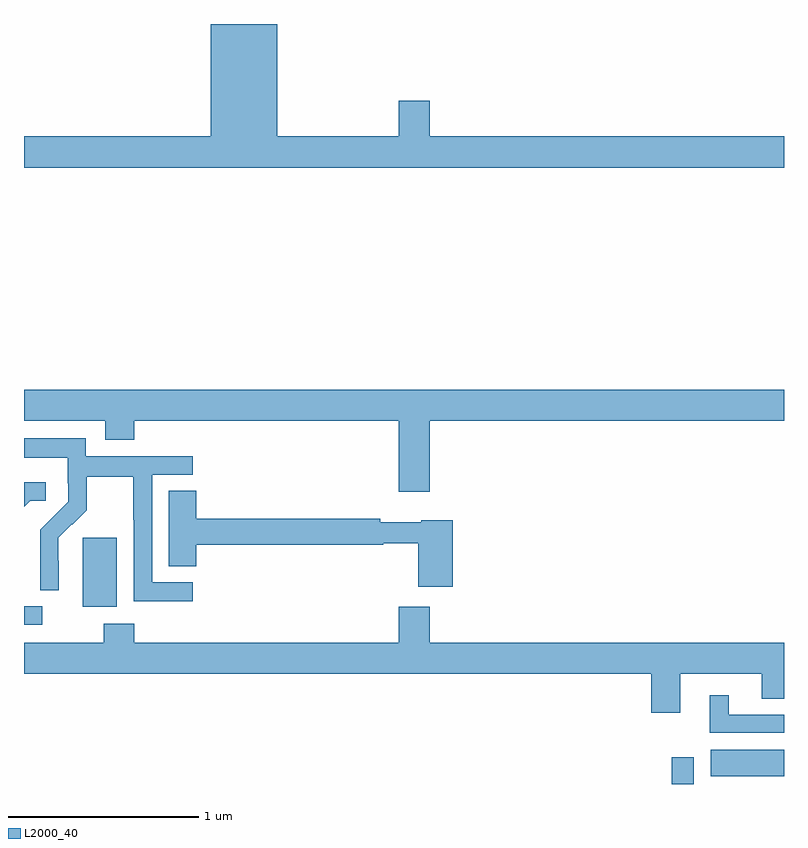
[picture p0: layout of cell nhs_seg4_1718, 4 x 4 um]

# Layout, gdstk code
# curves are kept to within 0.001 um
import gdstk
lib = gdstk.Library(unit=1e-6, precision=1e-09)
def R(c, l, rs):  # rectangles x0, y0, x1, y1
    for r in rs: c.add(gdstk.rectangle(r[:2], r[2:], *l))
def P(c, l, *ps):  # polygons
    for p in ps: c.add(gdstk.Polygon(p, *l))
L2000_40 = (2000, 40)

nhs_seg4_1718 = lib.new_cell('nhs_seg4_1718')
R(nhs_seg4_1718, L2000_40, [(202.408,802.9,202.524,803.041), (202.614,802.94,203,803.08), (199,803.739,199.096,803.835), (199.31,803.834,199.489,804.195)])
P(nhs_seg4_1718, L2000_40, [(203,806.308),(201.136,806.308),(201.136,806.497),(200.972,806.497),(200.972,806.308),(200.332,806.308),(200.332,806.9),(199.982,806.9),(199.982,806.308),(199,806.308),(199,806.144),(203,806.144)],
  [(201.136,804.812),(203,804.812),(203,804.976),(199,804.976),(199,804.812),(199.427,804.812),(199.427,804.713),(199.58,804.713),(199.58,804.812),(200.972,804.812),(200.972,804.438),(201.136,804.438)],
  [(199.888,803.961),(199.674,803.961),(199.674,804.528),(199.888,804.528),(199.888,804.624),(199.326,804.624),(199.326,804.721),(199,804.721),(199,804.617),(199.23,804.617),(199.23,804.483),(199.232,804.483),(199.232,804.386),(199.086,804.238),(199.086,803.92),(199.182,803.92),(199.181,804.197),(199.251,804.267),(199.254,804.264),(199.331,804.341),(199.331,804.516),(199.576,804.516),(199.576,804.292),(199.578,804.292),(199.578,803.863),(199.888,803.863)],
  [(199.032,804.39),(199.114,804.39),(199.114,804.487),(199,804.487),(199,804.358)],
  [(201.257,804.289),(201.09,804.289),(201.09,804.277),(200.876,804.277),(200.876,804.296),(199.907,804.296),(199.907,804.443),(199.763,804.443),(199.763,804.046),(199.907,804.046),(199.907,804.16),(200.89,804.16),(200.89,804.168),(201.074,804.168),(201.074,803.937),(201.257,803.937)],
  [(202.453,803.48),(202.883,803.48),(202.883,803.35),(203,803.35),(203,803.644),(201.136,803.644),(201.136,803.833),(200.972,803.833),(200.972,803.644),(199.58,803.644),(199.58,803.743),(199.42,803.743),(199.42,803.644),(199,803.644),(199,803.48),(202.301,803.48),(202.301,803.274),(202.453,803.274)],
  [(203,803.265),(202.708,803.265),(202.708,803.368),(202.61,803.368),(202.61,803.169),(203,803.169)])

lib.write_gds('nhs_seg4_1718.gds')
